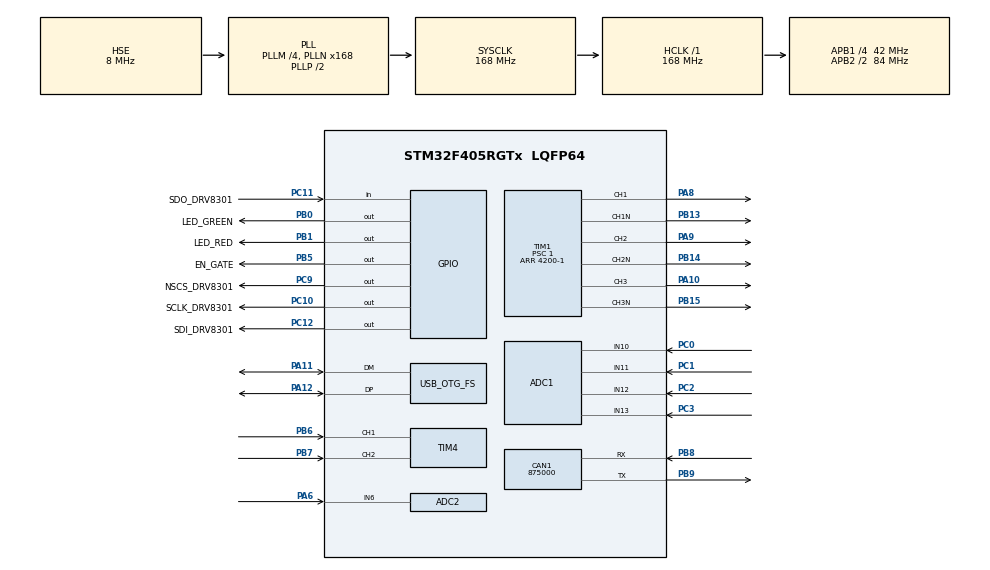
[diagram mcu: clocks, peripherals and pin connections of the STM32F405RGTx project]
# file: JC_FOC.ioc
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ADC1.Channel-2\#ChannelRegularConversion=ADC_CHANNEL_13
ADC1.Channel-3\#ChannelInjectedConversion=ADC_CHANNEL_10
ADC1.Channel-4\#ChannelInjectedConversion=ADC_CHANNEL_11
ADC1.Channel-5\#ChannelInjectedConversion=ADC_CHANNEL_12
ADC1.ContinuousConvMode=DISABLE
ADC1.ExternalTrigInjecConv=ADC_EXTERNALTRIGINJECCONV_T1_CC4
ADC1.ExternalTrigInjecConvEdge=ADC_EXTERNALTRIGINJECCONVEDGE_RISING
ADC1.InjNumberOfConversion=3
ADC1.InjectedOffset-3\#ChannelInjectedConversion=0
ADC1.InjectedOffset-4\#ChannelInjectedConversion=0
ADC1.InjectedOffset-5\#ChannelInjectedConversion=0
ADC1.InjectedRank-3\#ChannelInjectedConversion=1
ADC1.InjectedRank-4\#ChannelInjectedConversion=2
ADC1.InjectedRank-5\#ChannelInjectedConversion=3
ADC1.NbrOfConversion=1
ADC1.NbrOfConversionFlag=1
ADC1.Rank-2\#ChannelRegularConversion=1
ADC1.SamplingTime-2\#ChannelRegularConversion=ADC_SAMPLETIME_15CYCLES
ADC1.SamplingTime-3\#ChannelInjectedConversion=ADC_SAMPLETIME_15CYCLES
ADC1.SamplingTime-4\#ChannelInjectedConversion=ADC_SAMPLETIME_15CYCLES
ADC1.SamplingTime-5\#ChannelInjectedConversion=ADC_SAMPLETIME_15CYCLES
ADC1.ScanConvMode=ENABLE
ADC1.master=1
ADC2.Channel-0\#ChannelRegularConversion=ADC_CHANNEL_6
ADC2.NbrOfConversionFlag=1
ADC2.Rank-0\#ChannelRegularConversion=1
ADC2.SamplingTime-0\#ChannelRegularConversion=ADC_SAMPLETIME_3CYCLES
CAN1.CalculateBaudRate=875000
CAN1.CalculateTimeBit=1142
CAN1.CalculateTimeQuantum=380.95238095238096
Mcu.Family=STM32F4
Mcu.Name=STM32F405RGTx
Mcu.Package=LQFP64
NVIC.ADC_IRQn=true\:0\:0\:true\:false\:true\:true\:true\:true
NVIC.OTG_FS_IRQn=true\:0\:0\:false\:false\:true\:false\:true\:true
NVIC.PriorityGroup=NVIC_PRIORITYGROUP_4
NVIC.TIM1_UP_TIM10_IRQn=true\:0\:0\:false\:false\:true\:true\:true\:true
PA10.Signal=S_TIM1_CH3
PA11.Mode=Device_Only
PA11.Signal=USB_OTG_FS_DM
PA12.Mode=Device_Only
PA12.Signal=USB_OTG_FS_DP
PA13.Mode=Serial_Wire
PA13.Signal=SYS_JTMS-SWDIO
PA14.Mode=Serial_Wire
PA14.Signal=SYS_JTCK-SWCLK
PA6.Signal=ADCx_IN6
PA8.Signal=S_TIM1_CH1
PA9.Signal=S_TIM1_CH2
PB0.GPIO_Label=LED_GREEN
PB0.PinState=GPIO_PIN_RESET
PB0.Signal=GPIO_Output
PB1.GPIO_Label=LED_RED
PB1.PinState=GPIO_PIN_SET
PB1.Signal=GPIO_Output
PB13.Mode=PWM Generation1 CH1 CH1N
PB13.Signal=TIM1_CH1N
PB14.Mode=PWM Generation2 CH2 CH2N
PB14.Signal=TIM1_CH2N
PB15.Mode=PWM Generation3 CH3 CH3N
PB15.Signal=TIM1_CH3N
PB5.GPIO_Label=EN_GATE
PB5.GPIO_Speed=GPIO_SPEED_FREQ_HIGH
PB5.Signal=GPIO_Output
PB6.Signal=S_TIM4_CH1
PB7.Signal=S_TIM4_CH2
PB8.Mode=CAN_Activate
PB8.Signal=CAN1_RX
PB9.Mode=CAN_Activate
PB9.Signal=CAN1_TX
PC0.Signal=ADCx_IN10
PC1.Signal=ADCx_IN11
PC10.GPIO_Label=SCLK_DRV8301
PC10.GPIO_Speed=GPIO_SPEED_FREQ_VERY_HIGH
PC10.PinState=GPIO_PIN_RESET
PC10.Signal=GPIO_Output
PC11.GPIO_Label=SDO_DRV8301
PC11.Signal=GPIO_Input
PC12.GPIO_Label=SDI_DRV8301
PC12.GPIO_Speed=GPIO_SPEED_FREQ_VERY_HIGH
PC12.Signal=GPIO_Output
PC2.Signal=ADCx_IN12
PC3.Signal=ADCx_IN13
PC9.GPIO_Label=NSCS_DRV8301
PC9.GPIO_Speed=GPIO_SPEED_FREQ_VERY_HIGH
PC9.PinState=GPIO_PIN_SET
PC9.Signal=GPIO_Output
PH0-OSC_IN.Mode=HSE-External-Oscillator
PH0-OSC_IN.Signal=RCC_OSC_IN
PH1-OSC_OUT.Mode=HSE-External-Oscillator
PH1-OSC_OUT.Signal=RCC_OSC_OUT
ProjectManager.HeapSize=0x400
ProjectManager.StackSize=0x800
ProjectManager.TargetToolchain=MDK-ARM V5.32
RCC.48MHZClocksFreq_Value=48000000
RCC.AHBFreq_Value=168000000
RCC.APB1CLKDivider=RCC_HCLK_DIV4
RCC.APB1Freq_Value=42000000
RCC.APB1TimFreq_Value=84000000
RCC.APB2CLKDivider=RCC_HCLK_DIV2
RCC.APB2Freq_Value=84000000
RCC.APB2TimFreq_Value=168000000
RCC.CortexFreq_Value=168000000
RCC.HCLKFreq_Value=168000000
RCC.HSE_VALUE=8000000
RCC.HSI_VALUE=16000000
RCC.LSE_VALUE=32768
RCC.PLLM=4
RCC.PLLN=168
RCC.PLLQ=7
RCC.SYSCLKFreq_VALUE=168000000
RCC.SYSCLKSource=RCC_SYSCLKSOURCE_PLLCLK
RCC.VCOOutputFreq_Value=336000000
SH.ADCx_IN10.0=ADC1_IN10,IN10
SH.ADCx_IN11.0=ADC1_IN11,IN11
SH.ADCx_IN12.0=ADC1_IN12,IN12
SH.ADCx_IN13.0=ADC1_IN13,IN13
SH.ADCx_IN6.0=ADC2_IN6,IN6
SH.S_TIM1_CH1.0=TIM1_CH1,PWM Generation1 CH1 CH1N
SH.S_TIM1_CH2.0=TIM1_CH2,PWM Generation2 CH2 CH2N
SH.S_TIM1_CH3.0=TIM1_CH3,PWM Generation3 CH3 CH3N
SH.S_TIM4_CH1.0=TIM4_CH1,Encoder_Interface
SH.S_TIM4_CH2.0=TIM4_CH2,Encoder_Interface
TIM1.AutoReloadPreload=TIM_AUTORELOAD_PRELOAD_ENABLE
TIM1.Channel-PWM\ Generation1\ CH1\ CH1N=TIM_CHANNEL_1
TIM1.Channel-PWM\ Generation2\ CH2\ CH2N=TIM_CHANNEL_2
TIM1.Channel-PWM\ Generation3\ CH3\ CH3N=TIM_CHANNEL_3
TIM1.Channel-PWM\ Generation4\ No\ Output=TIM_CHANNEL_4
TIM1.CounterMode=TIM_COUNTERMODE_CENTERALIGNED1
TIM1.DeadTime=120
TIM1.OCMode_PWM-PWM\ Generation4\ No\ Output=TIM_OCMODE_PWM2
TIM1.Period=4200-1
TIM1.Prescaler=1
TIM1.Pulse-PWM\ Generation4\ No\ Output=4180
USB_DEVICE.CLASS_NAME_FS=CDC
USB_DEVICE.VirtualMode-CDC_FS=Cdc
USB_DEVICE.VirtualModeFS=Cdc_FS
USB_OTG_FS.VirtualMode=Device_Only
VP_TIM1_VS_ClockSourceINT.Mode=Internal
VP_TIM1_VS_no_output4.Mode=PWM Generation4 No Output
VP_USB_DEVICE_VS_USB_DEVICE_CDC_FS.Mode=CDC_FS
board=custom

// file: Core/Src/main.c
/* USER CODE BEGIN Header */
/**
  ******************************************************************************
  * @file           : main.c
  * @brief          : Main program body
  ******************************************************************************
  * @attention
  *
  * Copyright (c) 2025 STMicroelectronics.
  * All rights reserved.
  *
  * This software is licensed under terms that can be found in the LICENSE file
  * in the root directory of this software component.
  * If no LICENSE file comes with this software, it is provided AS-IS.
  *
  ******************************************************************************
  */
/* USER CODE END Header */
#include "main.h"
#include "adc.h"
#include "can.h"
#include "tim.h"
#include "usb_device.h"
#include "gpio.h"

/* USER CODE BEGIN Includes */
#include "foc.h"
#include "vofa.h"
/* USER CODE END Includes */

void SystemClock_Config(void);

int main(void)
{

  /* MCU Configuration--------------------------------------------------------*/

  /* Reset of all peripherals, Initializes the Flash interface and the Systick. */
  HAL_Init();

  /* Configure the system clock */
  SystemClock_Config();

  /* Initialize all configured peripherals */
  MX_GPIO_Init();
  MX_USB_DEVICE_Init();
  MX_ADC1_Init();
  MX_TIM1_Init();
  MX_CAN1_Init();
  MX_ADC2_Init();
  MX_TIM4_Init();
  /* USER CODE BEGIN 2 */
  __HAL_TIM_SET_COMPARE(&htim1,TIM_CHANNEL_1, 0);
	__HAL_TIM_SET_COMPARE(&htim1,TIM_CHANNEL_2, 0);
	__HAL_TIM_SET_COMPARE(&htim1,TIM_CHANNEL_3, 0);

	 HAL_TIM_PWM_Start(&htim1,TIM_CHANNEL_1);
   HAL_TIM_PWM_Start(&htim1,TIM_CHANNEL_2);
   HAL_TIM_PWM_Start(&htim1,TIM_CHANNEL_3);
	 HAL_TIM_PWM_Start(&htim1,TIM_CHANNEL_4);

	 HAL_TIMEx_PWMN_Start(&htim1,TIM_CHANNEL_1);
	 HAL_TIMEx_PWMN_Start(&htim1,TIM_CHANNEL_2);
	 HAL_TIMEx_PWMN_Start(&htim1,TIM_CHANNEL_3);

	TIM1->ARR = 8000-1;
  __HAL_TIM_SET_COMPARE(&htim1,TIM_CHANNEL_4, 4800-3); // 4800最大占空比  TIM1->CCR4 = 4800-3

	HAL_GPIO_WritePin(GPIOB,GPIO_PIN_5,1); // 使能DRV8301

  HAL_ADCEx_InjectedStart_IT(&hadc1); // 开启注入中断

  /* USER CODE END 2 */

  /* Infinite loop */
  while (1)
  {

  }
}

void SystemClock_Config(void)
{
  RCC_OscInitTypeDef RCC_OscInitStruct = {0};
  RCC_ClkInitTypeDef RCC_ClkInitStruct = {0};

  /** Configure the main internal regulator output voltage
  */
  __HAL_RCC_PWR_CLK_ENABLE();
  __HAL_PWR_VOLTAGESCALING_CONFIG(PWR_REGULATOR_VOLTAGE_SCALE1);

  /** Initializes the RCC Oscillators according to the specified parameters
  * in the RCC_OscInitTypeDef structure.
  */
  RCC_OscInitStruct.OscillatorType = RCC_OSCILLATORTYPE_HSE;
  RCC_OscInitStruct.HSEState = RCC_HSE_ON;
  RCC_OscInitStruct.PLL.PLLState = RCC_PLL_ON;
  RCC_OscInitStruct.PLL.PLLSource = RCC_PLLSOURCE_HSE;
  RCC_OscInitStruct.PLL.PLLM = 4;
  RCC_OscInitStruct.PLL.PLLN = 168;
  RCC_OscInitStruct.PLL.PLLP = RCC_PLLP_DIV2;
  RCC_OscInitStruct.PLL.PLLQ = 7;
  if (HAL_RCC_OscConfig(&RCC_OscInitStruct) != HAL_OK)
  {
    Error_Handler();
  }

  /** Initializes the CPU, AHB and APB buses clocks
  */
  RCC_ClkInitStruct.ClockType = RCC_CLOCKTYPE_HCLK|RCC_CLOCKTYPE_SYSCLK
                              |RCC_CLOCKTYPE_PCLK1|RCC_CLOCKTYPE_PCLK2;
  RCC_ClkInitStruct.SYSCLKSource = RCC_SYSCLKSOURCE_PLLCLK;
  RCC_ClkInitStruct.AHBCLKDivider = RCC_SYSCLK_DIV1;
  RCC_ClkInitStruct.APB1CLKDivider = RCC_HCLK_DIV4;
  RCC_ClkInitStruct.APB2CLKDivider = RCC_HCLK_DIV2;

  if (HAL_RCC_ClockConfig(&RCC_ClkInitStruct, FLASH_LATENCY_5) != HAL_OK)
  {
    Error_Handler();
  }
}

void Error_Handler(void)
{
  __disable_irq();
  while (1)
  {
  }
}
